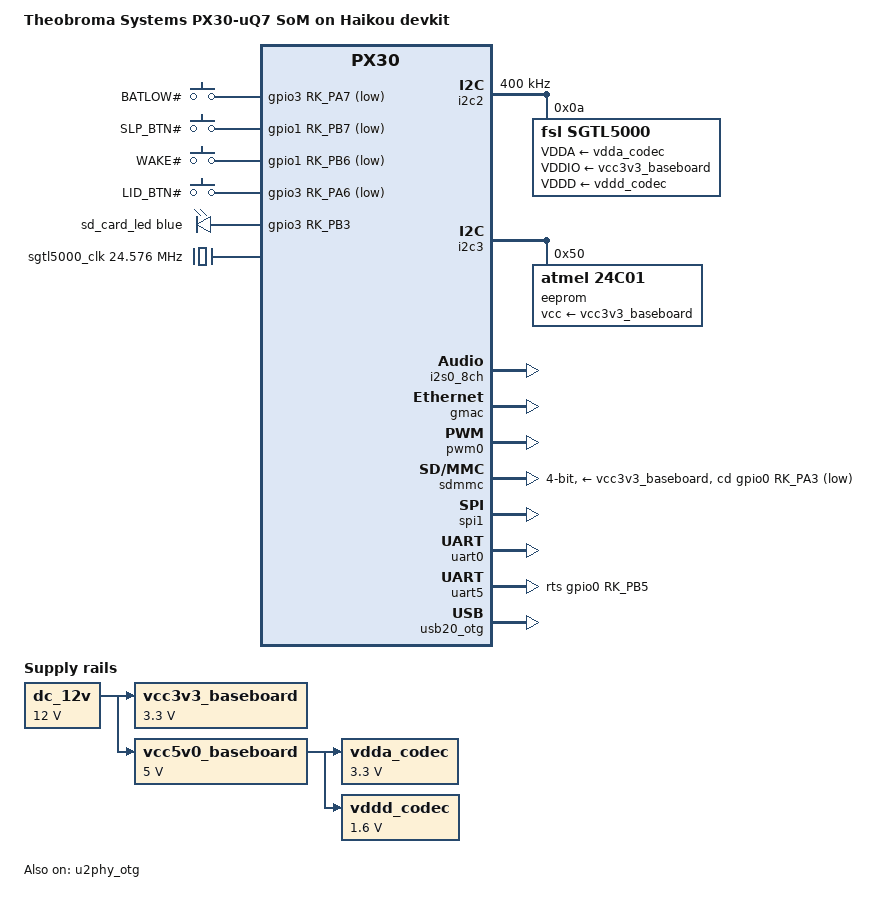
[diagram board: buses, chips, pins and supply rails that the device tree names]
// SPDX-License-Identifier: (GPL-2.0+ OR MIT)
/*
 * Copyright (c) 2022 Theobroma Systems Design und Consulting GmbH
 */

/dts-v1/;
#include "px30-ringneck.dtsi"
#include <dt-bindings/input/input.h>
#include <dt-bindings/leds/common.h>

/ {
	model = "Theobroma Systems PX30-uQ7 SoM on Haikou devkit";
	compatible = "tsd,px30-ringneck-haikou", "rockchip,px30";

	aliases {
		ethernet0 = &gmac;
		mmc2 = &sdmmc;
	};

	chosen {
		stdout-path = "serial0:115200n8";
	};

	gpio-keys {
		compatible = "gpio-keys";
		pinctrl-0 = <&haikou_keys_pin>;
		pinctrl-names = "default";

		button-batlow-n {
			label = "BATLOW#";
			linux,code = <KEY_BATTERY>;
			gpios = <&gpio3 RK_PA7 GPIO_ACTIVE_LOW>;
		};

		button-slp-btn-n {
			label = "SLP_BTN#";
			linux,code = <KEY_SLEEP>;
			gpios = <&gpio1 RK_PB7 GPIO_ACTIVE_LOW>;
		};

		button-wake-n {
			label = "WAKE#";
			linux,code = <KEY_WAKEUP>;
			gpios = <&gpio1 RK_PB6 GPIO_ACTIVE_LOW>;
			wakeup-source;
		};

		switch-lid-btn-n {
			label = "LID_BTN#";
			linux,code = <SW_LID>;
			linux,input-type = <EV_SW>;
			gpios = <&gpio3 RK_PA6 GPIO_ACTIVE_LOW>;
		};
	};

	leds {
		pinctrl-0 = <&module_led_pin>, <&sd_card_led_pin>;

		sd_card_led: led-1 {
			gpios = <&gpio3 RK_PB3 GPIO_ACTIVE_HIGH>;
			linux,default-trigger = "mmc2";
			function = LED_FUNCTION_SD;
			color = <LED_COLOR_ID_BLUE>;
		};
	};

	i2s0-sound {
		compatible = "simple-audio-card";
		simple-audio-card,format = "i2s";
		simple-audio-card,name = "Haikou,I2S-codec";
		simple-audio-card,mclk-fs = <512>;
		simple-audio-card,frame-master = <&sgtl5000_codec>;
		simple-audio-card,bitclock-master = <&sgtl5000_codec>;

		sgtl5000_codec: simple-audio-card,codec {
			sound-dai = <&sgtl5000>;
			// Prevent the dai subsystem from overwriting the clock
			// frequency. We are using a fixed-frequency oscillator.
			system-clock-fixed;
		};

		simple-audio-card,cpu {
			sound-dai = <&i2s0_8ch>;
		};
	};

	sgtl5000_clk: sgtl5000-oscillator {
		compatible = "fixed-clock";
		#clock-cells = <0>;
		clock-frequency = <24576000>;
	};

	dc_12v: regulator-dc-12v {
		compatible = "regulator-fixed";
		regulator-name = "dc_12v";
		regulator-always-on;
		regulator-boot-on;
		regulator-min-microvolt = <12000000>;
		regulator-max-microvolt = <12000000>;
	};

	vcc3v3_baseboard: regulator-vcc3v3-baseboard {
		compatible = "regulator-fixed";
		regulator-name = "vcc3v3_baseboard";
		regulator-always-on;
		regulator-boot-on;
		regulator-min-microvolt = <3300000>;
		regulator-max-microvolt = <3300000>;
		vin-supply = <&dc_12v>;
	};

	vcc5v0_baseboard: regulator-vcc5v0-baseboard {
		compatible = "regulator-fixed";
		regulator-name = "vcc5v0_baseboard";
		regulator-always-on;
		regulator-boot-on;
		regulator-min-microvolt = <5000000>;
		regulator-max-microvolt = <5000000>;
		vin-supply = <&dc_12v>;
	};

	vdda_codec: regulator-vdda-codec {
		compatible = "regulator-fixed";
		regulator-name = "vdda_codec";
		regulator-boot-on;
		regulator-min-microvolt = <3300000>;
		regulator-max-microvolt = <3300000>;
		vin-supply = <&vcc5v0_baseboard>;
	};

	vddd_codec: regulator-vddd-codec {
		compatible = "regulator-fixed";
		regulator-name = "vddd_codec";
		regulator-boot-on;
		regulator-min-microvolt = <1600000>;
		regulator-max-microvolt = <1600000>;
		vin-supply = <&vcc5v0_baseboard>;
	};
};

&i2c2 {
	status = "okay";
	clock-frequency = <400000>;

	sgtl5000: codec@a {
		compatible = "fsl,sgtl5000";
		reg = <0x0a>;
		clocks = <&sgtl5000_clk>;
		#sound-dai-cells = <0>;
		VDDA-supply = <&vdda_codec>;
		VDDIO-supply = <&vcc3v3_baseboard>;
		VDDD-supply = <&vddd_codec>;
	};
};

&i2c3 {
	eeprom@50 {
		reg = <0x50>;
		compatible = "atmel,24c01";
		pagesize = <8>;
		size = <128>;
		vcc-supply = <&vcc3v3_baseboard>;
	};
};

&i2s0_8ch {
	status = "okay";
};

&gmac {
	status = "okay";
};

&pinctrl {
	haikou {
		haikou_keys_pin: haikou-keys-pin {
			rockchip,pins =
			  /* WAKE# */
			  <1 RK_PB6 RK_FUNC_GPIO &pcfg_pull_up>,
			  /* SLP_BTN# */
			  <1 RK_PB7 RK_FUNC_GPIO &pcfg_pull_up>,
			  /* LID_BTN */
			  <3 RK_PA6 RK_FUNC_GPIO &pcfg_pull_up>,
			  /* BATLOW# */
			  <3 RK_PA7 RK_FUNC_GPIO &pcfg_pull_up>,
			  /* BIOS_DISABLE# */
			  <2 RK_PC2 RK_FUNC_GPIO &pcfg_pull_up>;
		};
	};

	leds {
		sd_card_led_pin: sd-card-led-pin {
			rockchip,pins =
			  <3 RK_PB3 RK_FUNC_GPIO &pcfg_pull_none>;
		};
	};
};

&pwm0 {
	status = "okay";
};

&sdmmc {
	sd-uhs-sdr12;
	sd-uhs-sdr25;
	sd-uhs-sdr50;
	bus-width = <4>;
	cap-mmc-highspeed;
	cap-sd-highspeed;
	cd-gpios = <&gpio0 RK_PA3 GPIO_ACTIVE_LOW>;
	disable-wp;
	vmmc-supply = <&vcc3v3_baseboard>;
	status = "okay";
};

&spi1 {
	status = "okay";
};

&u2phy_otg {
	status = "okay";
};

&uart0 {
	status = "okay";
};

&uart5 {
	pinctrl-0 = <&uart5_xfer>;
	rts-gpios = <&gpio0 RK_PB5 GPIO_ACTIVE_HIGH>;
	status = "okay";
};

&usb20_otg {
	status = "okay";
};
